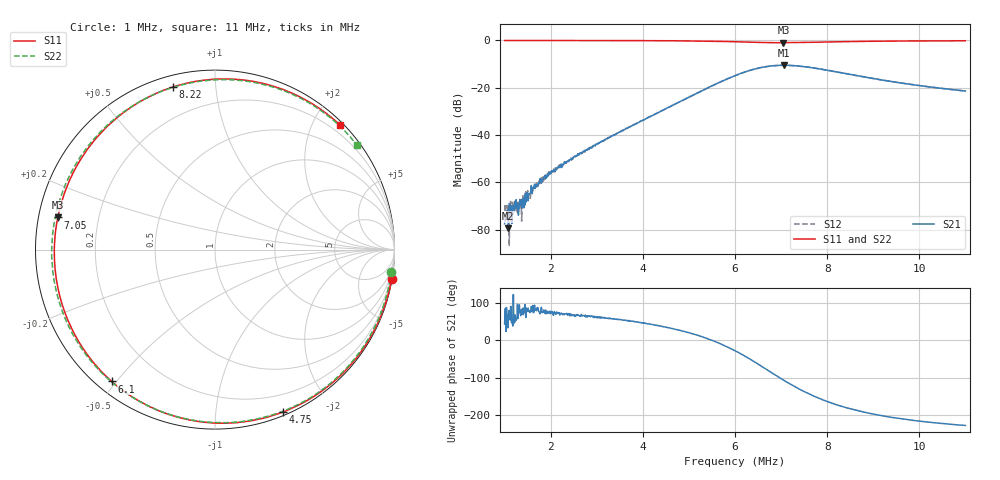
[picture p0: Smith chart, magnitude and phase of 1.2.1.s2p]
# MHz S DB R 50
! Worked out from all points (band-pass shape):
!   1001 points, 1 MHz to 11 MHz, reference 50 ohm
!   highest |S21| = -10.51 dB at 7.07 MHz (marker M1); lowest = -79.5 dB at 1.08 MHz (marker M2)
!   |S21| within 3 dB of the highest: 6.19 MHz to 8.255 MHz (2.065 MHz wide, 28.6 % of centre)
!   lowest |S11| = -1.0 dB at 7.05 MHz (marker M3), VSWR 17.87, Z = 2.83 + j5.05 ohm
!   |S11| at or under -10 dB: nowhere
!   |S22| runs from -0.8 to -0.1 dB; largest |S21 - S12| = 0.0054
!   S11 on the Smith chart (normalised r, x): 1 MHz: 0, -12; 4.75 MHz: 0.03, -1.50; 6.1 MHz: 0.04, -0.49; 7.05 MHz: 0.06, +0.10; 8.22 MHz: 0.05, +0.77; 11 MHz: 0.06, +2.41
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1  -0.02 -9.5  -77.61 43.7  -75.44 14.1  -0.09 -7.1
1.08  -0.02 -10.2  -79.46 62.5  -70.01 48.9  -0.09 -7.7
1.15  -0.02 -10.8  -70.05 47.4  -72.85 23.3  -0.09 -8.2
1.18  -0.03 -11.1  -71.72 38.6  -74.25 59.4  -0.10 -8.4
1.33  -0.01 -12.6  -67.53 75.3  -67.26 73.8  -0.10 -9.4
1.45  -0.03 -13.7  -64.86 82.5  -64.91 70.7  -0.09 -10.3
1.81  -0.04 -17.3  -59.17 78.3  -58.53 70.9  -0.09 -13.0
2.67  -0.03 -27.2  -47.88 69.6  -47.89 68.8  -0.06 -20.6
4.34  -0.12 -56.2  -30.46 39.5  -30.44 38.6  -0.13 -44.1
4.75  -0.17 -67.4  -26.43 28.8  -26.41 27.8  -0.15 -53.9
5.39  -0.30 -90.7  -20.26 5.5  -20.27 4.5  -0.25 -76.4
6  -0.55 -122.0  -14.90 -27.3  -14.90 -28.3  -0.46 -111.0
6.1  -0.60 -128.1  -14.15 -33.9  -14.14 -34.9  -0.51 -118.3
6.61  -0.88 -161.6  -11.29 -71.8  -11.29 -72.8  -0.77 -162.0
7.05  -0.97 168.4  -10.51 -106.0  -10.51 -107.0  -0.84 157.9
7.07  -0.97 167.1  -10.51 -107.5  -10.51 -108.5  -0.83 156.1
7.37  -0.91 148.0  -10.82 -128.5  -10.81 -129.5  -0.76 132.3
7.67  -0.80 130.7  -11.54 -146.8  -11.53 -147.8  -0.64 112.5
8.22  -0.57 104.6  -13.38 -172.8  -13.38 -173.8  -0.45 86.0
8.74  -0.42 86.2  -15.24 169.7  -15.23 168.8  -0.34 69.4
9.34  -0.30 70.6  -17.22 155.4  -17.22 154.4  -0.25 56.3
11  -0.15 45.0  -21.43 132.4  -21.42 131.4  -0.16 36.5
